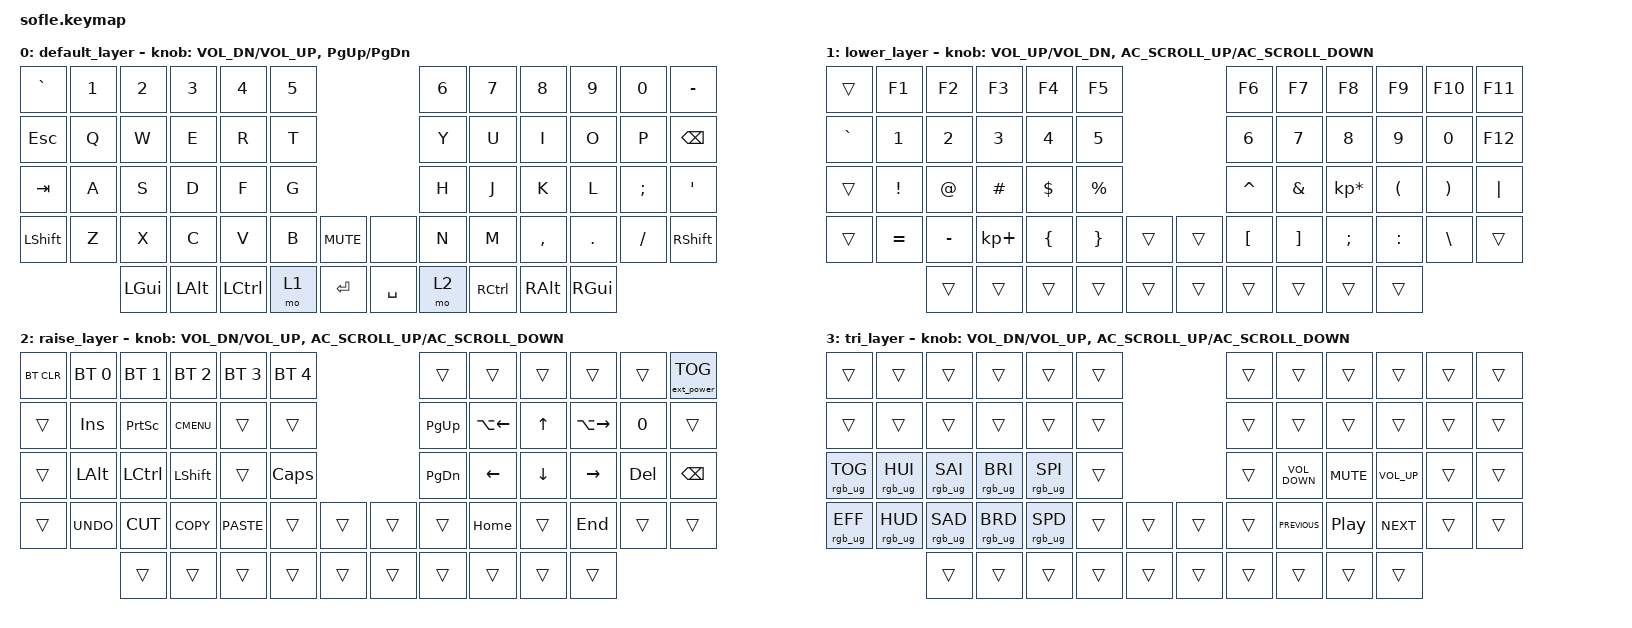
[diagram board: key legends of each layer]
/*
 * Copyright (c) 2020 The ZMK Contributors
 *
 * SPDX-License-Identifier: MIT
 */

#include <behaviors.dtsi>
#include <dt-bindings/zmk/keys.h>
#include <dt-bindings/zmk/bt.h>
#include <dt-bindings/zmk/rgb.h>
#include <dt-bindings/zmk/ext_power.h>

#define PRVWD LA(LEFT)
#define NXTWD LA(RIGHT)

/ {
    conditional_layers {
        compatible = "zmk,conditional-layers";
        tri_layer {
            if-layers = <1 2>;
            then-layer = <3>;
        };
    };
    keymap {
        compatible = "zmk,keymap";

        default_layer {
// ------------------------------------------------------------------------------------------------------------
// |  `    |  1  |  2  |  3   |  4   |  5   |                   |  6   |  7    |  8    |  9   |   0   |   -   |
// |  ESC  |  Q  |  W  |  E   |  R   |  T   |                   |  Y   |  U    |  I    |  O   |   P   | BKSPC |
// |  TAB  |  A  |  S  |  D   |  F   |  G   |                   |  H   |  J    |  K    |  L   |   ;   |   '   |
// | SHIFT |  Z  |  X  |  C   |  V   |  B   |  MUTE  |  |       |  N   |  M    |  ,    |  .   |   /   | SHIFT |
//               | GUI | ALT  | CTRL | LOWER|  ENTER |  | SPACE | RAISE| CTRL  | ALT   | GUI  |
            bindings = <
&kp GRAVE &kp N1 &kp N2   &kp N3   &kp N4    &kp N5                      &kp N6 &kp N7    &kp N8    &kp N9   &kp N0   &kp MINUS  
&kp ESC   &kp Q  &kp W    &kp E    &kp R     &kp T                       &kp Y  &kp U     &kp I     &kp O    &kp P    &kp BSPC
&kp TAB   &kp A  &kp S    &kp D    &kp F     &kp G                       &kp H  &kp J     &kp K     &kp L    &kp SEMI &kp SQT
&kp LSHFT &kp Z  &kp X    &kp C    &kp V     &kp B  &kp C_MUTE &none     &kp N  &kp M     &kp COMMA &kp DOT  &kp FSLH &kp RSHFT
                 &kp LGUI &kp LALT &kp LCTRL &mo 1  &kp RET    &kp SPACE &mo 2  &kp RCTRL &kp RALT  &kp RGUI
            >;

            sensor-bindings = <&inc_dec_kp C_VOL_DN C_VOL_UP &inc_dec_kp PG_UP PG_DN>;
        };

        lower_layer {
// TODO: Some binds are waiting for shifted keycode support.
// ------------------------------------------------------------------------------------------------------------
// |       |  F1 |  F2 |  F3  |  F4  |  F5  |                   |  F6  |  F7   |  F8   |  F9  |  F10  |  F11  |
// | `     |   1 |   2 |   3  |   4  |   5  |                   |   6  |   7   |   8   |   9  |    0  |  F12  |
// |       |  !  |  @  |  #   |  $   |  %   |                   |  ^   |  &    |  *    |  (   |   )   |   |   |
// |       |  =  |  -  |  +   |  {   |  }   |        |  |       |  [   |  ]    |  ;    |  :   |   \   |       |
//               |     |      |      |      |        |  |       |      |       |       |      |
            bindings = <
&trans    &kp F1    &kp F2    &kp F3      &kp F4    &kp F5                    &kp F6    &kp F7   &kp F8          &kp F9    &kp F10   &kp F11
&kp GRAVE &kp N1    &kp N2    &kp N3      &kp N4    &kp N5                    &kp N6    &kp N7   &kp N8          &kp N9    &kp N0    &kp F12
&trans    &kp EXCL  &kp AT    &kp HASH    &kp DLLR  &kp PRCNT                 &kp CARET &kp AMPS &kp KP_MULTIPLY &kp LPAR  &kp RPAR  &kp PIPE
&trans    &kp EQUAL &kp MINUS &kp KP_PLUS &kp LBRC  &kp RBRC  &trans   &trans &kp LBKT  &kp RBKT &kp SEMI        &kp COLON &kp BSLH  &trans
                    &trans    &trans      &trans    &trans    &trans   &trans &trans    &trans   &trans          &trans
            >;

            sensor-bindings = <&inc_dec_kp C_VOL_UP C_VOL_DN &inc_dec_kp C_AC_SCROLL_UP C_AC_SCROLL_DOWN>;
        };

        raise_layer {
// ------------------------------------------------------------------------------------------------------------
// |BTCLR| BT1  | BT2  |  BT3  |  BT4  |  BT5 |                |      |      |       |      |       | EP_TOG|
// |     | INS  | PSCR | GUI   |       |      |                | PGUP |PREVWD|   ^   |NXTWD |       |       |
// |     | ALT  | CTRL | SHIFT |       | CAPS |                | PGDN |   <- |   v   |  ->  |  DEL  | BKSPC |
// |     | UNDO | CUT  | COPY  | PASTE |      |      |  |      |      | HOME |       | END  |       |       |
//              |      |       |       |      |      |  |      |      |      |       |      |
            bindings = <
&bt BT_CLR &bt BT_SEL 0 &bt BT_SEL 1 &bt BT_SEL 2 &bt BT_SEL 3 &bt BT_SEL 4             &trans    &trans    &trans   &trans    &trans  &ext_power EP_TOG
&trans     &kp INS      &kp PSCRN    &kp K_CMENU  &trans       &trans                   &kp PG_UP &kp PRVWD &kp UP   &kp NXTWD &kp N0  &trans
&trans     &kp LALT     &kp LCTRL    &kp LSHFT    &trans       &kp CLCK                 &kp PG_DN &kp LEFT  &kp DOWN &kp RIGHT &kp DEL &kp BSPC
&trans     &kp K_UNDO   &kp K_CUT    &kp K_COPY   &kp K_PASTE  &trans  &trans   &trans  &trans    &kp HOME  &trans   &kp END   &trans  &trans
                        &trans       &trans       &trans       &trans  &trans   &trans  &trans    &trans    &trans   &trans
            >;

            sensor-bindings = <&inc_dec_kp C_VOL_DN C_VOL_UP &inc_dec_kp C_AC_SCROLL_UP C_AC_SCROLL_DOWN>;
        };

        tri_layer {
// ------------------------------------------------------------------------------------------------------------
// |     |      |       |      |       |      |                |      |      |       |      |       |       |
// |     |      |       |      |       |      |                |      |      |       |      |       |       |
// | TOG | HUI  | SAI   | BRI  | SPI   |      |                |      |VOL_DN| MUTE  |VOL_UP|       |       |
// | EFF | HUD  | SAD   | BRD  | SPD   |      |      |  |      |      | PREV | START | NEXT |       |       |
//              |      |       |       |      |      |  |      |      |      |       |      |
            bindings = <
&trans            &trans       &trans       &trans       &trans       &trans                   &trans    &trans    &trans   &trans    &trans  &trans
&trans            &trans       &trans       &trans       &trans       &trans                   &trans    &trans    &trans   &trans    &trans  &trans
&rgb_ug RGB_TOG   &rgb_ug RGB_HUI   &rgb_ug RGB_SAI   &rgb_ug RGB_BRI   &rgb_ug RGB_SPI       &trans                 &trans    &kp C_VOLUME_DOWN   &kp K_MUTE   &kp C_VOLUME_UP  &trans  &trans
&rgb_ug RGB_EFF   &rgb_ug RGB_HUD   &rgb_ug RGB_SAD   &rgb_ug RGB_BRD   &rgb_ug RGB_SPD       &trans  &trans   &trans  &trans    &kp C_PREVIOUS   &kp C_PLAY_PAUSE  &kp C_NEXT   &trans  &trans
                        &trans       &trans       &trans       &trans  &trans   &trans  &trans    &trans    &trans   &trans
            >;

            sensor-bindings = <&inc_dec_kp C_VOL_DN C_VOL_UP &inc_dec_kp C_AC_SCROLL_UP C_AC_SCROLL_DOWN>;
        };
    };
};
